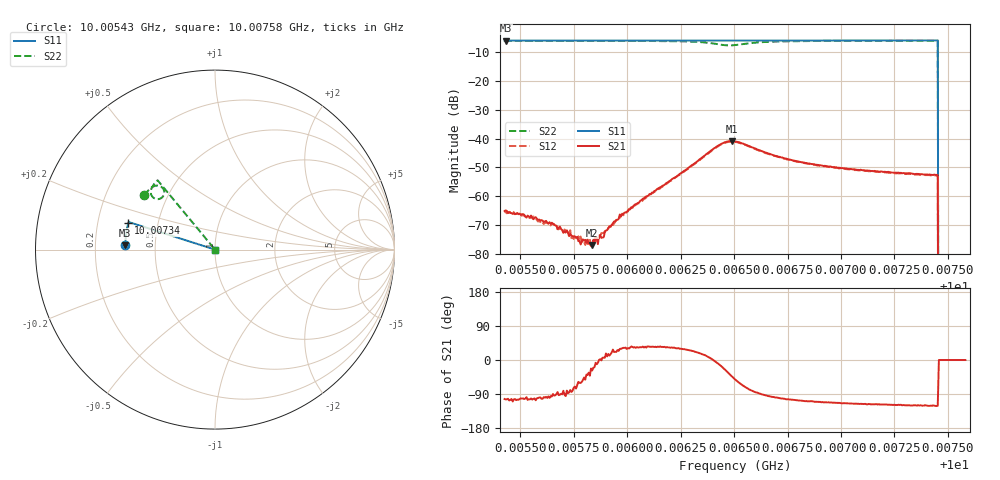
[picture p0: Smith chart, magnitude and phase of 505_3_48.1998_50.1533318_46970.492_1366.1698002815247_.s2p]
#  HZ  S  RI  R  50.00
! Rohde & Schwarz Vector Network Analyzer
! Rohde-Schwarz,ZNB20-2Port,1311601062101988,3.16
! Created: UTC 3/20/2024, 11:58:44 AM
! freq[Hz]  re:S11  im:S11  re:S21  im:S21  re:S12  im:S12  re:S22  im:S22
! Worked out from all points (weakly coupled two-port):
!   401 points, 10.00543 GHz to 10.00758 GHz, reference 50 ohm
!   highest |S21| = -40.91 dB at 10.00649 GHz (marker M1); lowest = -77.0 dB at 10.00584 GHz (marker M2)
!   lowest |S11| = -6.0 dB at 10.00543 GHz (marker M3), VSWR 3.01, Z = 16.6 + j1.11 ohm
!   |S11| at or under -10 dB: 10.00745 GHz to end of sweep
!   |S22| runs from - to -6.0 dB; largest |S21 - S12| = 0.00059
!   S11 on the Smith chart (normalised r, x): 10.00543 GHz: 0.33, +0.02; 10.00734 GHz: 0.34, +0.13; 10.00758 GHz: 1.00, +0.00
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1.0005427e10  -0.5005 0.0246  -0.000124 -0.000536  -0.000113 -0.000503  -0.3936 0.3022
1.0005433e10  -0.5004 0.025  -0.000139 -0.000548  -0.000107 -0.00052  -0.3933 0.3025
1.0005562e10  -0.5 0.0335  -8.62e-05 -0.000387  -9.06e-05 -0.000434  -0.3878 0.3101
1.00056e10  -0.5001 0.0358  -8.08e-05 -0.000375  -2.84e-05 -0.000376  -0.3862 0.3123
1.0005648e10  -0.4998 0.0391  -3.7e-05 -0.000341  -3.22e-05 -0.000343  -0.3838 0.3152
1.0005723e10  -0.4997 0.0439  9.23e-06 -0.000229  8.24e-05 -0.000215  -0.3802 0.32
1.000575e10  -0.4995 0.0457  5.74e-05 -0.000192  7.35e-05 -0.000165  -0.3788 0.3216
1.0005788e10  -0.4994 0.048  8.76e-05 -0.000139  7.1e-05 -0.000142  -0.3768 0.3239
1.0005837e10  -0.4992 0.0513  0.000125 -6.58e-05  0.000133 -3.52e-05  -0.3742 0.3269
1.000589e10  -0.4989 0.0547  0.000192 2.1e-05  0.000229 8.03e-06  -0.3711 0.3304
1.0005977e10  -0.4984 0.0602  0.000425 0.000253  0.000415 0.000224  -0.3655 0.3362
1.0006149e10  -0.4972 0.0715  0.00114 0.000781  0.00106 0.000785  -0.3503 0.3483
1.0006418e10  -0.4944 0.0888  0.00719 -0.000782  0.00705 -0.0004  -0.2854 0.3328
1.0006488e10  -0.4936 0.0925  0.00663 -0.0061  0.00682 -0.0056  -0.2992 0.2872
1.0006504e10  -0.4934 0.0936  0.00557 -0.00694  0.00586 -0.00647  -0.31 0.2822
1.0006688e10  -0.4922 0.1052  -0.000699 -0.00503  -0.000489 -0.00498  -0.3581 0.3227
1.0006865e10  -0.4901 0.1167  -0.00118 -0.0034  -0.00103 -0.00335  -0.3509 0.3477
1.0007226e10  -0.4849 0.1396  -0.00122 -0.0023  -0.00108 -0.00231  -0.3317 0.374
1.0007345e10  -0.4831 0.1468  -0.00117 -0.00208  -0.00107 -0.00212  -0.3253 0.3806
1.0007442e10  -0.4814 0.1529  -0.00121 -0.00199  -0.00109 -0.00201  -0.3204 0.3858
1.0007469e10  0 0  0 0  0 0  0 0
1.0007582e10  0 0  0 0  0 0  0 0
